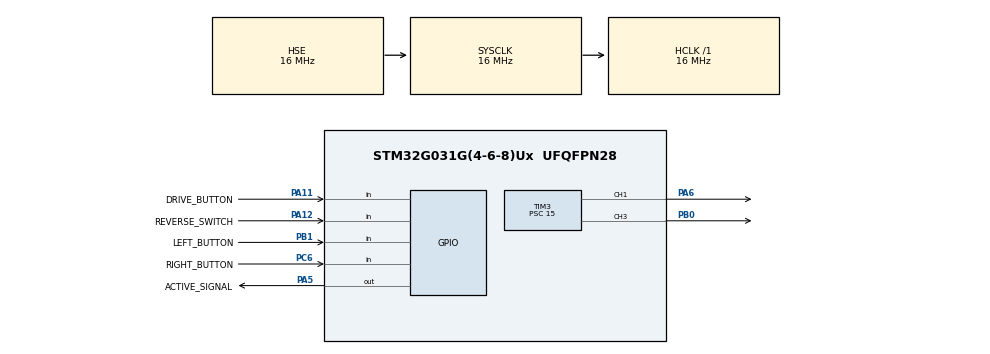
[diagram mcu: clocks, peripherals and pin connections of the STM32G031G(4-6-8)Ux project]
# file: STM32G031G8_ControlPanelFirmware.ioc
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Mcu.Family=STM32G0
Mcu.Name=STM32G031G(4-6-8)Ux
Mcu.Package=UFQFPN28
PA11\ [PA9].GPIO_Label=DRIVE_BUTTON
PA11\ [PA9].GPIO_PuPd=GPIO_PULLUP
PA11\ [PA9].Signal=GPIO_Input
PA12\ [PA10].GPIO_Label=REVERSE_SWITCH
PA12\ [PA10].GPIO_PuPd=GPIO_PULLUP
PA12\ [PA10].Signal=GPIO_Input
PA13.Mode=Serial_Wire
PA13.Signal=SYS_SWDIO
PA14-BOOT0.Mode=Serial_Wire
PA14-BOOT0.Signal=SYS_SWCLK
PA5.GPIO_Label=ACTIVE_SIGNAL
PA5.PinState=GPIO_PIN_SET
PA5.Signal=GPIO_Output
PA6.Signal=S_TIM3_CH1
PB0.Signal=S_TIM3_CH3
PB1.GPIO_Label=LEFT_BUTTON
PB1.GPIO_PuPd=GPIO_PULLUP
PB1.Signal=GPIO_Input
PC14-OSC32_IN\ (PC14).Mode=HSE-External-Clock-Source
PC14-OSC32_IN\ (PC14).Signal=RCC_OSC_IN
PC6.GPIO_Label=RIGHT_BUTTON
PC6.GPIO_PuPd=GPIO_PULLUP
PC6.Signal=GPIO_Input
ProjectManager.HeapSize=0x200
ProjectManager.StackSize=0x400
ProjectManager.TargetToolchain=STM32CubeIDE
RCC.ADCFreq_Value=16000000
RCC.AHBFreq_Value=16000000
RCC.CortexFreq_Value=16000000
RCC.EXTERNAL_CLOCK_VALUE=12288000
RCC.HCLKFreq_Value=16000000
RCC.HSE_VALUE=16000000
RCC.HSI_VALUE=16000000
RCC.LSE_VALUE=32768
RCC.PLLSourceVirtual=RCC_PLLSOURCE_HSE
RCC.SYSCLKFreq_VALUE=16000000
RCC.SYSCLKSource=RCC_SYSCLKSOURCE_HSE
RCC.VCOOutputFreq_Value=128000000
SH.S_TIM3_CH1.0=TIM3_CH1,PWM Generation1 CH1
SH.S_TIM3_CH3.0=TIM3_CH3,PWM Generation3 CH3
TIM3.Channel-PWM\ Generation1\ CH1=TIM_CHANNEL_1
TIM3.Channel-PWM\ Generation3\ CH3=TIM_CHANNEL_3
TIM3.Period=1000
TIM3.Prescaler=15
TIM3.Pulse-PWM\ Generation1\ CH1=500
board=custom

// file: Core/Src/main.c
/* USER CODE BEGIN Header */
/**
  ******************************************************************************
  * @file           : main.c
  * @brief          : Main program body
  ******************************************************************************
  * @attention
  *
  * <h2><center>&copy; Copyright (c) 2021 STMicroelectronics.
  * All rights reserved.</center></h2>
  *
  * This software component is licensed by ST under BSD 3-Clause license,
  * the "License"; You may not use this file except in compliance with the
  * License. You may obtain a copy of the License at:
  *                        opensource.org/licenses/BSD-3-Clause
  *
  ******************************************************************************
  */
/* USER CODE END Header */
#include "main.h"

TIM_HandleTypeDef htim3;

/* USER CODE BEGIN PV */
#define THROTTLE_OFF		500
#define THROTTLE_FORWARD	800
#define THROTTLE_REVERSE	200

#define STEERING_STRAIGHT	500
#define STEERING_LEFT		200
#define STEERING_RIGHT		800
/* USER CODE END PV */

void SystemClock_Config(void);
static void MX_GPIO_Init(void);
static void MX_TIM3_Init(void);

int main(void)
{
  /* USER CODE BEGIN 1 */
  uint16_t pwmSteering = STEERING_STRAIGHT;
  uint16_t pwmThrottle = THROTTLE_OFF;
  int throttleOn = 0;

  /* USER CODE END 1 */

  /* MCU Configuration--------------------------------------------------------*/

  /* Reset of all peripherals, Initializes the Flash interface and the Systick. */
  HAL_Init();

  /* Configure the system clock */
  SystemClock_Config();

  /* Initialize all configured peripherals */
  MX_GPIO_Init();
  MX_TIM3_Init();
  /* USER CODE BEGIN 2 */
  HAL_TIM_PWM_Start(&htim3, TIM_CHANNEL_1);
  HAL_TIM_PWM_Start(&htim3, TIM_CHANNEL_3);
  /* USER CODE END 2 */

  /* Infinite loop */
  /* USER CODE BEGIN WHILE */
  while (1)
  {
	  // All Buttons are connected to GND so their logic is inverted
	  if (!HAL_GPIO_ReadPin(DRIVE_BUTTON_GPIO_Port, DRIVE_BUTTON_Pin)) {
		  // Drive Straight Button Pressed
		  throttleOn = 1;
		  pwmSteering = STEERING_STRAIGHT;
	  } else if (!HAL_GPIO_ReadPin(LEFT_BUTTON_GPIO_Port, LEFT_BUTTON_Pin)) {
		  // Drive Left Button Pressed
		  throttleOn = 1;
		  pwmSteering = STEERING_LEFT;
	  } else if (!HAL_GPIO_ReadPin(RIGHT_BUTTON_GPIO_Port, RIGHT_BUTTON_Pin)) {
		  // Drive Right Button Pressed
		  throttleOn = 1;
		  pwmSteering = STEERING_RIGHT;
	  } else {
		  throttleOn = 0;
		  pwmSteering = STEERING_STRAIGHT;
	  }

	  if (!HAL_GPIO_ReadPin(REVERSE_SWITCH_GPIO_Port, REVERSE_SWITCH_Pin)) {
		  if (throttleOn) {
			  pwmThrottle = THROTTLE_REVERSE;
		  } else {
			  pwmThrottle = THROTTLE_OFF;
		  }
	  } else {
		  if (throttleOn) {
			  pwmThrottle = THROTTLE_FORWARD;
		  } else {
			  pwmThrottle = THROTTLE_OFF;
		  }
	  }

	  __HAL_TIM_SET_COMPARE(&htim3, TIM_CHANNEL_3, pwmSteering);
	  __HAL_TIM_SET_COMPARE(&htim3, TIM_CHANNEL_1, pwmThrottle);
    /* USER CODE END WHILE */

  }
}

void SystemClock_Config(void)
{
  RCC_OscInitTypeDef RCC_OscInitStruct = {0};
  RCC_ClkInitTypeDef RCC_ClkInitStruct = {0};

  /** Configure the main internal regulator output voltage
  */
  HAL_PWREx_ControlVoltageScaling(PWR_REGULATOR_VOLTAGE_SCALE1);

  /** Initializes the RCC Oscillators according to the specified parameters
  * in the RCC_OscInitTypeDef structure.
  */
  RCC_OscInitStruct.OscillatorType = RCC_OSCILLATORTYPE_HSE;
  RCC_OscInitStruct.HSEState = RCC_HSE_BYPASS;
  RCC_OscInitStruct.PLL.PLLState = RCC_PLL_NONE;
  if (HAL_RCC_OscConfig(&RCC_OscInitStruct) != HAL_OK)
  {
    Error_Handler();
  }

  /** Initializes the CPU, AHB and APB buses clocks
  */
  RCC_ClkInitStruct.ClockType = RCC_CLOCKTYPE_HCLK|RCC_CLOCKTYPE_SYSCLK
                              |RCC_CLOCKTYPE_PCLK1;
  RCC_ClkInitStruct.SYSCLKSource = RCC_SYSCLKSOURCE_HSE;
  RCC_ClkInitStruct.AHBCLKDivider = RCC_SYSCLK_DIV1;
  RCC_ClkInitStruct.APB1CLKDivider = RCC_HCLK_DIV1;

  if (HAL_RCC_ClockConfig(&RCC_ClkInitStruct, FLASH_LATENCY_0) != HAL_OK)
  {
    Error_Handler();
  }
}

static void MX_TIM3_Init(void)
{

  TIM_MasterConfigTypeDef sMasterConfig = {0};
  TIM_OC_InitTypeDef sConfigOC = {0};

  htim3.Instance = TIM3;
  htim3.Init.Prescaler = 15;
  htim3.Init.CounterMode = TIM_COUNTERMODE_UP;
  htim3.Init.Period = 1000;
  htim3.Init.ClockDivision = TIM_CLOCKDIVISION_DIV1;
  htim3.Init.AutoReloadPreload = TIM_AUTORELOAD_PRELOAD_DISABLE;
  if (HAL_TIM_PWM_Init(&htim3) != HAL_OK)
  {
    Error_Handler();
  }
  sMasterConfig.MasterOutputTrigger = TIM_TRGO_RESET;
  sMasterConfig.MasterSlaveMode = TIM_MASTERSLAVEMODE_DISABLE;
  if (HAL_TIMEx_MasterConfigSynchronization(&htim3, &sMasterConfig) != HAL_OK)
  {
    Error_Handler();
  }
  sConfigOC.OCMode = TIM_OCMODE_PWM1;
  sConfigOC.Pulse = 500;
  sConfigOC.OCPolarity = TIM_OCPOLARITY_HIGH;
  sConfigOC.OCFastMode = TIM_OCFAST_DISABLE;
  if (HAL_TIM_PWM_ConfigChannel(&htim3, &sConfigOC, TIM_CHANNEL_1) != HAL_OK)
  {
    Error_Handler();
  }
  sConfigOC.Pulse = 0;
  if (HAL_TIM_PWM_ConfigChannel(&htim3, &sConfigOC, TIM_CHANNEL_3) != HAL_OK)
  {
    Error_Handler();
  }
  HAL_TIM_MspPostInit(&htim3);

}

static void MX_GPIO_Init(void)
{
  GPIO_InitTypeDef GPIO_InitStruct = {0};

  /* GPIO Ports Clock Enable */
  __HAL_RCC_GPIOC_CLK_ENABLE();
  __HAL_RCC_GPIOA_CLK_ENABLE();
  __HAL_RCC_GPIOB_CLK_ENABLE();

  /*Configure GPIO pin Output Level */
  HAL_GPIO_WritePin(ACTIVE_SIGNAL_GPIO_Port, ACTIVE_SIGNAL_Pin, GPIO_PIN_SET);

  /*Configure GPIO pin : ACTIVE_SIGNAL_Pin */
  GPIO_InitStruct.Pin = ACTIVE_SIGNAL_Pin;
  GPIO_InitStruct.Mode = GPIO_MODE_OUTPUT_PP;
  GPIO_InitStruct.Pull = GPIO_NOPULL;
  GPIO_InitStruct.Speed = GPIO_SPEED_FREQ_LOW;
  HAL_GPIO_Init(ACTIVE_SIGNAL_GPIO_Port, &GPIO_InitStruct);

  /*Configure GPIO pin : LEFT_BUTTON_Pin */
  GPIO_InitStruct.Pin = LEFT_BUTTON_Pin;
  GPIO_InitStruct.Mode = GPIO_MODE_INPUT;
  GPIO_InitStruct.Pull = GPIO_PULLUP;
  HAL_GPIO_Init(LEFT_BUTTON_GPIO_Port, &GPIO_InitStruct);

  /*Configure GPIO pin : RIGHT_BUTTON_Pin */
  GPIO_InitStruct.Pin = RIGHT_BUTTON_Pin;
  GPIO_InitStruct.Mode = GPIO_MODE_INPUT;
  GPIO_InitStruct.Pull = GPIO_PULLUP;
  HAL_GPIO_Init(RIGHT_BUTTON_GPIO_Port, &GPIO_InitStruct);

  /*Configure GPIO pins : DRIVE_BUTTON_Pin REVERSE_SWITCH_Pin */
  GPIO_InitStruct.Pin = DRIVE_BUTTON_Pin|REVERSE_SWITCH_Pin;
  GPIO_InitStruct.Mode = GPIO_MODE_INPUT;
  GPIO_InitStruct.Pull = GPIO_PULLUP;
  HAL_GPIO_Init(GPIOA, &GPIO_InitStruct);

}

void Error_Handler(void)
{
  __disable_irq();
  while (1)
  {
  }
}
